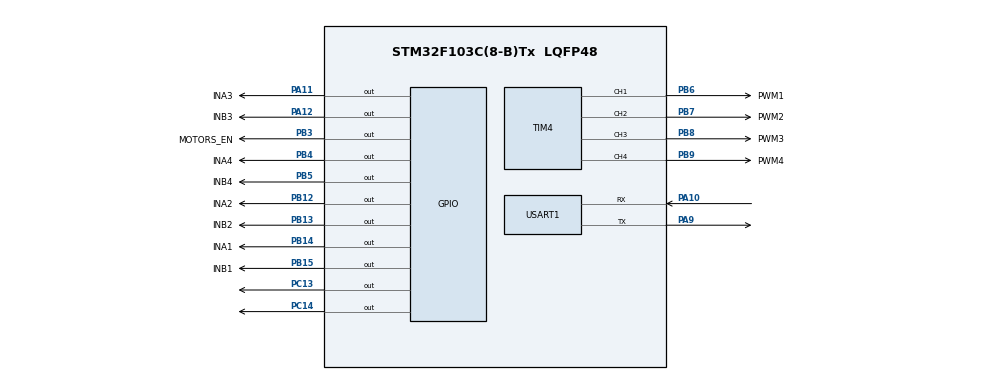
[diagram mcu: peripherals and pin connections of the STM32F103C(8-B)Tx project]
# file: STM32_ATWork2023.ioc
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Mcu.Family=STM32F1
Mcu.Name=STM32F103C(8-B)Tx
Mcu.Package=LQFP48
NVIC.PriorityGroup=NVIC_PRIORITYGROUP_4
PA10.Mode=Asynchronous
PA10.Signal=USART1_RX
PA11.GPIO_Label=INA3
PA11.Signal=GPIO_Output
PA12.GPIO_Label=INB3
PA12.Signal=GPIO_Output
PA13.Mode=Serial_Wire
PA13.Signal=SYS_JTMS-SWDIO
PA14.Mode=Serial_Wire
PA14.Signal=SYS_JTCK-SWCLK
PA9.Mode=Asynchronous
PA9.Signal=USART1_TX
PB12.GPIO_Label=INA2
PB12.Signal=GPIO_Output
PB13.GPIO_Label=INB2
PB13.Signal=GPIO_Output
PB14.GPIO_Label=INA1
PB14.Signal=GPIO_Output
PB15.GPIO_Label=INB1
PB15.Signal=GPIO_Output
PB3.GPIO_Label=MOTORS_EN
PB3.Signal=GPIO_Output
PB4.GPIO_Label=INA4
PB4.Signal=GPIO_Output
PB5.GPIO_Label=INB4
PB5.Signal=GPIO_Output
PB6.GPIO_Label=PWM1
PB6.Signal=S_TIM4_CH1
PB7.GPIO_Label=PWM2
PB7.Signal=S_TIM4_CH2
PB8.GPIO_Label=PWM3
PB8.Signal=S_TIM4_CH3
PB9.GPIO_Label=PWM4
PB9.Signal=S_TIM4_CH4
PC13-TAMPER-RTC.Signal=GPIO_Output
PC14-OSC32_IN.Signal=GPIO_Output
PD0-OSC_IN.Mode=HSE-External-Oscillator
PD0-OSC_IN.Signal=RCC_OSC_IN
PD1-OSC_OUT.Mode=HSE-External-Oscillator
PD1-OSC_OUT.Signal=RCC_OSC_OUT
ProjectManager.HeapSize=0x200
ProjectManager.StackSize=0x400
ProjectManager.TargetToolchain=STM32CubeIDE
RCC.APB1Freq_Value=8000000
RCC.APB2Freq_Value=8000000
SH.S_TIM4_CH1.0=TIM4_CH1,PWM Generation1 CH1
SH.S_TIM4_CH2.0=TIM4_CH2,PWM Generation2 CH2
SH.S_TIM4_CH3.0=TIM4_CH3,PWM Generation3 CH3
SH.S_TIM4_CH4.0=TIM4_CH4,PWM Generation4 CH4
TIM4.Channel-PWM\ Generation1\ CH1=TIM_CHANNEL_1
TIM4.Channel-PWM\ Generation2\ CH2=TIM_CHANNEL_2
TIM4.Channel-PWM\ Generation3\ CH3=TIM_CHANNEL_3
TIM4.Channel-PWM\ Generation4\ CH4=TIM_CHANNEL_4
USART1.VirtualMode=VM_ASYNC
board=custom

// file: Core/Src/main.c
/* USER CODE BEGIN Header */
/**
  ******************************************************************************
  * @file           : main.c
  * @brief          : Main program body
  ******************************************************************************
  * @attention
  *
  * Copyright (c) 2023 STMicroelectronics.
  * All rights reserved.
  *
  * This software is licensed under terms that can be found in the LICENSE file
  * in the root directory of this software component.
  * If no LICENSE file comes with this software, it is provided AS-IS.
  *
  ******************************************************************************
  */
/* USER CODE END Header */
#include "main.h"

 TIM_HandleTypeDef htim4;

UART_HandleTypeDef huart1;

void SystemClock_Config(void);
static void MX_GPIO_Init(void);
static void MX_TIM4_Init(void);
static void MX_USART1_UART_Init(void);

/* USER CODE BEGIN 0 */
int v = 50;
uint8_t buffer[20], s;
int l1, l2, r2, r1;
void motor(int L1, int L2, int R2, int R1){
	L1 = L1*255;
	L2 = L2*255;
	R2 = R2*255;
	R1 = R1*255;

	// ------------------ L1
	if(L1 >= 0){
		HAL_GPIO_WritePin(INA1_GPIO_Port, INA1_Pin, 1);
		HAL_GPIO_WritePin(INB1_GPIO_Port, INB1_Pin, 0);
		TIM4->CCR1 = L1;
	}else{
		HAL_GPIO_WritePin(INA1_GPIO_Port, INA1_Pin, 0);
		HAL_GPIO_WritePin(INB1_GPIO_Port, INB1_Pin, 1);
		TIM4->CCR1 = -L1;
	}
	// ------------------ L2
	if(L2 >= 0){
		HAL_GPIO_WritePin(INA2_GPIO_Port, INA2_Pin, 1);
		HAL_GPIO_WritePin(INB2_GPIO_Port, INB2_Pin, 0);
		TIM4->CCR2 = L2;
	}else{
		HAL_GPIO_WritePin(INA2_GPIO_Port, INA2_Pin, 0);
		HAL_GPIO_WritePin(INB2_GPIO_Port, INB2_Pin, 1);
		TIM4->CCR2 = -L2;
	}
	// ------------------ R2
	if(R2 >= 0){
		HAL_GPIO_WritePin(INA3_GPIO_Port, INA3_Pin, 1);
		HAL_GPIO_WritePin(INB3_GPIO_Port, INB3_Pin, 0);
		TIM4->CCR3 = R2;
	}else{
		HAL_GPIO_WritePin(INA3_GPIO_Port, INA3_Pin, 0);
		HAL_GPIO_WritePin(INB3_GPIO_Port, INB3_Pin, 1);
		TIM4->CCR3 = -R2;
	}
	// ------------------ R1
	if(R1 >= 0){
		HAL_GPIO_WritePin(INA4_GPIO_Port, INA4_Pin, 1);
		HAL_GPIO_WritePin(INB4_GPIO_Port, INB4_Pin, 0);
		TIM4->CCR4 = R1;
	}else{
		HAL_GPIO_WritePin(INA4_GPIO_Port, INA4_Pin, 0);
		HAL_GPIO_WritePin(INB4_GPIO_Port, INB4_Pin, 1);
		TIM4->CCR4 = -R1;
	}
}
void stop(){
	motor(0,0,0,0);
}
void move(int direction){
	if(direction == 0)  motor( v,  v, -v, -v);
	if(direction == 2)  motor( v,  0, -v,  0);
	if(direction == 4)  motor( v, -v, -v,  v);
	if(direction == 6)  motor( 0, -v,  0,  v);
	if(direction == 8)  motor(-v, -v,  v,  v);
	if(direction == 10) motor(-v,  0,  v,  0);
	if(direction == 12) motor(-v,  v,  v, -v);
	if(direction == 14) motor( 0,  v,  0, -v);
}
/* USER CODE END 0 */

int main(void)
{

  /* MCU Configuration--------------------------------------------------------*/

  /* Reset of all peripherals, Initializes the Flash interface and the Systick. */
  HAL_Init();

  /* Configure the system clock */
  SystemClock_Config();

  /* Initialize all configured peripherals */
  MX_GPIO_Init();
  MX_TIM4_Init();
  MX_USART1_UART_Init();
  /* USER CODE BEGIN 2 */
  HAL_TIM_PWM_Start(&htim4, TIM_CHANNEL_1);
  HAL_TIM_PWM_Start(&htim4, TIM_CHANNEL_2);
  HAL_TIM_PWM_Start(&htim4, TIM_CHANNEL_3);
  HAL_TIM_PWM_Start(&htim4, TIM_CHANNEL_4);
  for(int i=0; i<10; i++){
	  HAL_Delay(100);
	  HAL_GPIO_TogglePin(GPIOC, GPIO_PIN_14); // Red LED
  }
  HAL_GPIO_WritePin(GPIOC, GPIO_PIN_13, 1); // Green LED
  HAL_GPIO_WritePin(GPIOC, GPIO_PIN_14, 0); // Red LED
  HAL_GPIO_WritePin(GPIOB, GPIO_PIN_3, 1); // Motors Enable
  /* USER CODE END 2 */

  /* Infinite loop */
  /* USER CODE BEGIN WHILE */
  while (1)
  {
	  HAL_UART_Receive(&huart1, &buffer[0], 1, PHY_FULLDUPLEX_100M);
	  if(buffer[0] == 'M') {
		  HAL_UART_Receive(&huart1,&s,1,PHY_FULLDUPLEX_100M);
		  HAL_UART_Receive(&huart1,&buffer[0],1,PHY_FULLDUPLEX_100M);
		  if(s=='-') 			r1=-(int)buffer[0];
		  else  				r1=(int)buffer[0];
		  ////////////////
		  HAL_UART_Receive(&huart1,&s,1,PHY_FULLDUPLEX_100M);
		  HAL_UART_Receive(&huart1,&buffer[0],1,PHY_FULLDUPLEX_100M);
		  if(s=='-') 			r2=-(int)buffer[0];
		  else  				r2=(int)buffer[0];
		  ////////////////
		  HAL_UART_Receive(&huart1,&s,1,PHY_FULLDUPLEX_100M);
		  HAL_UART_Receive(&huart1,&buffer[0],1,PHY_FULLDUPLEX_100M);
		  if(s=='-') 			l2=-(int)buffer[0];
		  else  				l2=(int)buffer[0];
		  ////////////////
		  HAL_UART_Receive(&huart1,&s,1,PHY_FULLDUPLEX_100M);
		  HAL_UART_Receive(&huart1,&buffer[0],1,PHY_FULLDUPLEX_100M);
		  if(s=='-') 			l1=-(int)buffer[0];
		  else  				l1=(int)buffer[0];
		  motor(l1,l2,r2,r1);
	  }

    /* USER CODE END WHILE */

  }
}

void SystemClock_Config(void)
{
  RCC_OscInitTypeDef RCC_OscInitStruct = {0};
  RCC_ClkInitTypeDef RCC_ClkInitStruct = {0};

  /** Initializes the RCC Oscillators according to the specified parameters
  * in the RCC_OscInitTypeDef structure.
  */
  RCC_OscInitStruct.OscillatorType = RCC_OSCILLATORTYPE_HSI;
  RCC_OscInitStruct.HSIState = RCC_HSI_ON;
  RCC_OscInitStruct.HSICalibrationValue = RCC_HSICALIBRATION_DEFAULT;
  RCC_OscInitStruct.PLL.PLLState = RCC_PLL_NONE;
  if (HAL_RCC_OscConfig(&RCC_OscInitStruct) != HAL_OK)
  {
    Error_Handler();
  }

  /** Initializes the CPU, AHB and APB buses clocks
  */
  RCC_ClkInitStruct.ClockType = RCC_CLOCKTYPE_HCLK|RCC_CLOCKTYPE_SYSCLK
                              |RCC_CLOCKTYPE_PCLK1|RCC_CLOCKTYPE_PCLK2;
  RCC_ClkInitStruct.SYSCLKSource = RCC_SYSCLKSOURCE_HSI;
  RCC_ClkInitStruct.AHBCLKDivider = RCC_SYSCLK_DIV1;
  RCC_ClkInitStruct.APB1CLKDivider = RCC_HCLK_DIV1;
  RCC_ClkInitStruct.APB2CLKDivider = RCC_HCLK_DIV1;

  if (HAL_RCC_ClockConfig(&RCC_ClkInitStruct, FLASH_LATENCY_0) != HAL_OK)
  {
    Error_Handler();
  }
}

static void MX_TIM4_Init(void)
{

  TIM_MasterConfigTypeDef sMasterConfig = {0};
  TIM_OC_InitTypeDef sConfigOC = {0};

  htim4.Instance = TIM4;
  htim4.Init.Prescaler = 0;
  htim4.Init.CounterMode = TIM_COUNTERMODE_UP;
  htim4.Init.Period = 65535;
  htim4.Init.ClockDivision = TIM_CLOCKDIVISION_DIV1;
  htim4.Init.AutoReloadPreload = TIM_AUTORELOAD_PRELOAD_DISABLE;
  if (HAL_TIM_PWM_Init(&htim4) != HAL_OK)
  {
    Error_Handler();
  }
  sMasterConfig.MasterOutputTrigger = TIM_TRGO_RESET;
  sMasterConfig.MasterSlaveMode = TIM_MASTERSLAVEMODE_DISABLE;
  if (HAL_TIMEx_MasterConfigSynchronization(&htim4, &sMasterConfig) != HAL_OK)
  {
    Error_Handler();
  }
  sConfigOC.OCMode = TIM_OCMODE_PWM1;
  sConfigOC.Pulse = 0;
  sConfigOC.OCPolarity = TIM_OCPOLARITY_HIGH;
  sConfigOC.OCFastMode = TIM_OCFAST_DISABLE;
  if (HAL_TIM_PWM_ConfigChannel(&htim4, &sConfigOC, TIM_CHANNEL_1) != HAL_OK)
  {
    Error_Handler();
  }
  if (HAL_TIM_PWM_ConfigChannel(&htim4, &sConfigOC, TIM_CHANNEL_2) != HAL_OK)
  {
    Error_Handler();
  }
  if (HAL_TIM_PWM_ConfigChannel(&htim4, &sConfigOC, TIM_CHANNEL_3) != HAL_OK)
  {
    Error_Handler();
  }
  if (HAL_TIM_PWM_ConfigChannel(&htim4, &sConfigOC, TIM_CHANNEL_4) != HAL_OK)
  {
    Error_Handler();
  }
  HAL_TIM_MspPostInit(&htim4);

}

static void MX_USART1_UART_Init(void)
{

  huart1.Instance = USART1;
  huart1.Init.BaudRate = 115200;
  huart1.Init.WordLength = UART_WORDLENGTH_8B;
  huart1.Init.StopBits = UART_STOPBITS_1;
  huart1.Init.Parity = UART_PARITY_NONE;
  huart1.Init.Mode = UART_MODE_TX_RX;
  huart1.Init.HwFlowCtl = UART_HWCONTROL_NONE;
  huart1.Init.OverSampling = UART_OVERSAMPLING_16;
  if (HAL_UART_Init(&huart1) != HAL_OK)
  {
    Error_Handler();
  }

}

static void MX_GPIO_Init(void)
{
  GPIO_InitTypeDef GPIO_InitStruct = {0};

  /* GPIO Ports Clock Enable */
  __HAL_RCC_GPIOC_CLK_ENABLE();
  __HAL_RCC_GPIOD_CLK_ENABLE();
  __HAL_RCC_GPIOB_CLK_ENABLE();
  __HAL_RCC_GPIOA_CLK_ENABLE();

  /*Configure GPIO pin Output Level */
  HAL_GPIO_WritePin(GPIOC, GPIO_PIN_13|GPIO_PIN_14, GPIO_PIN_RESET);

  /*Configure GPIO pin Output Level */
  HAL_GPIO_WritePin(GPIOB, INA2_Pin|INB2_Pin|INA1_Pin|INB1_Pin
                          |MOTORS_EN_Pin|INA4_Pin|INB4_Pin, GPIO_PIN_RESET);

  /*Configure GPIO pin Output Level */
  HAL_GPIO_WritePin(GPIOA, INA3_Pin|INB3_Pin, GPIO_PIN_RESET);

  /*Configure GPIO pins : PC13 PC14 */
  GPIO_InitStruct.Pin = GPIO_PIN_13|GPIO_PIN_14;
  GPIO_InitStruct.Mode = GPIO_MODE_OUTPUT_PP;
  GPIO_InitStruct.Pull = GPIO_NOPULL;
  GPIO_InitStruct.Speed = GPIO_SPEED_FREQ_LOW;
  HAL_GPIO_Init(GPIOC, &GPIO_InitStruct);

  /*Configure GPIO pins : INA2_Pin INB2_Pin INA1_Pin INB1_Pin
                           MOTORS_EN_Pin INA4_Pin INB4_Pin */
  GPIO_InitStruct.Pin = INA2_Pin|INB2_Pin|INA1_Pin|INB1_Pin
                          |MOTORS_EN_Pin|INA4_Pin|INB4_Pin;
  GPIO_InitStruct.Mode = GPIO_MODE_OUTPUT_PP;
  GPIO_InitStruct.Pull = GPIO_NOPULL;
  GPIO_InitStruct.Speed = GPIO_SPEED_FREQ_LOW;
  HAL_GPIO_Init(GPIOB, &GPIO_InitStruct);

  /*Configure GPIO pins : INA3_Pin INB3_Pin */
  GPIO_InitStruct.Pin = INA3_Pin|INB3_Pin;
  GPIO_InitStruct.Mode = GPIO_MODE_OUTPUT_PP;
  GPIO_InitStruct.Pull = GPIO_NOPULL;
  GPIO_InitStruct.Speed = GPIO_SPEED_FREQ_LOW;
  HAL_GPIO_Init(GPIOA, &GPIO_InitStruct);

}

void Error_Handler(void)
{
  __disable_irq();
  while (1)
  {
  }
}
